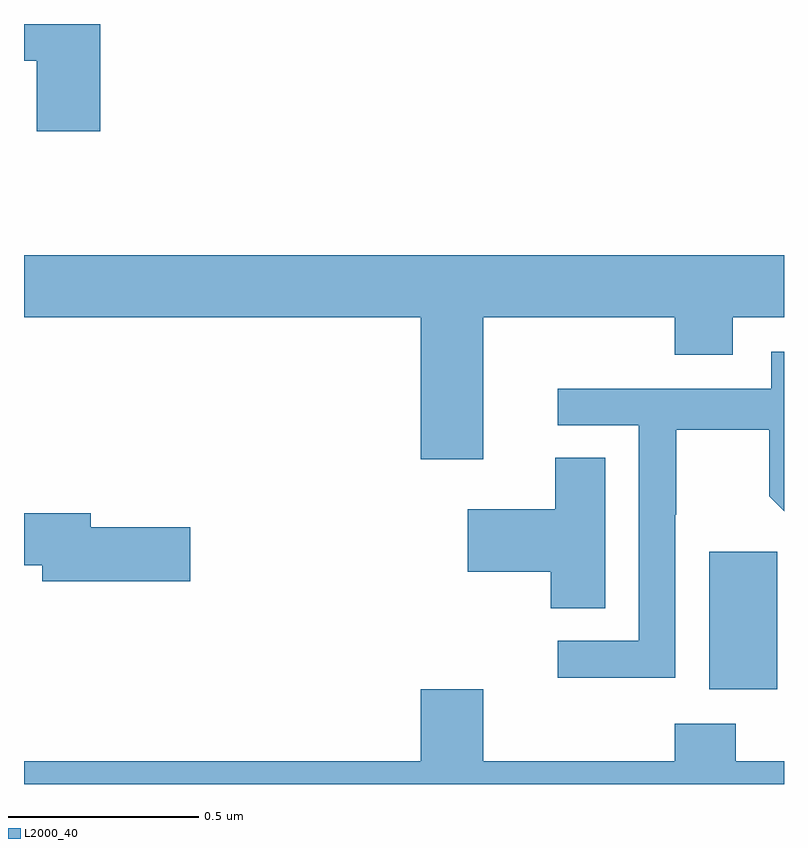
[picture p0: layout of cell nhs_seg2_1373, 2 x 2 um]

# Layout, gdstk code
import gdstk
lib = gdstk.Library(unit=1e-6, precision=1e-09)
def R(c, l, rs):  # rectangles x0, y0, x1, y1
    for r in rs: c.add(gdstk.rectangle(r[:2], r[2:], *l))
def P(c, l, *ps):  # polygons
    for p in ps: c.add(gdstk.Polygon(p, *l))
L2000_40 = (2000, 40)

nhs_seg2_1373 = lib.new_cell('nhs_seg2_1373')
R(nhs_seg2_1373, L2000_40, [(129.803,588.05,129.982,588.411)])
P(nhs_seg2_1373, L2000_40, [(128.201,589.8),(128,589.8),(128,589.703),(128.033,589.703),(128.033,589.518),(128.201,589.518)],
  [(129.208,589.028),(129.713,589.028),(129.713,588.929),(129.865,588.929),(129.865,589.028),(130,589.028),(130,589.192),(128,589.192),(128,589.028),(129.044,589.028),(129.044,588.654),(129.208,588.654)],
  [(129.714,588.508),(129.717,588.508),(129.717,588.732),(129.961,588.732),(129.961,588.557),(130,588.518),(130,588.937),(129.966,588.937),(129.966,588.84),(129.405,588.84),(129.405,588.744),(129.618,588.744),(129.618,588.177),(129.405,588.177),(129.405,588.079),(129.714,588.079)],
  [(129.529,588.659),(129.398,588.659),(129.398,588.523),(129.168,588.523),(129.168,588.358),(129.386,588.358),(129.386,588.262),(129.529,588.262)],
  [(128.437,588.476),(128.176,588.476),(128.176,588.512),(128,588.512),(128,588.376),(128.048,588.376),(128.048,588.334),(128.437,588.334)],
  [(130,587.86),(129.873,587.86),(129.873,587.959),(129.713,587.959),(129.713,587.86),(129.208,587.86),(129.208,588.049),(129.044,588.049),(129.044,587.86),(128,587.86),(128,587.8),(130,587.8)])

lib.write_gds('nhs_seg2_1373.gds')
